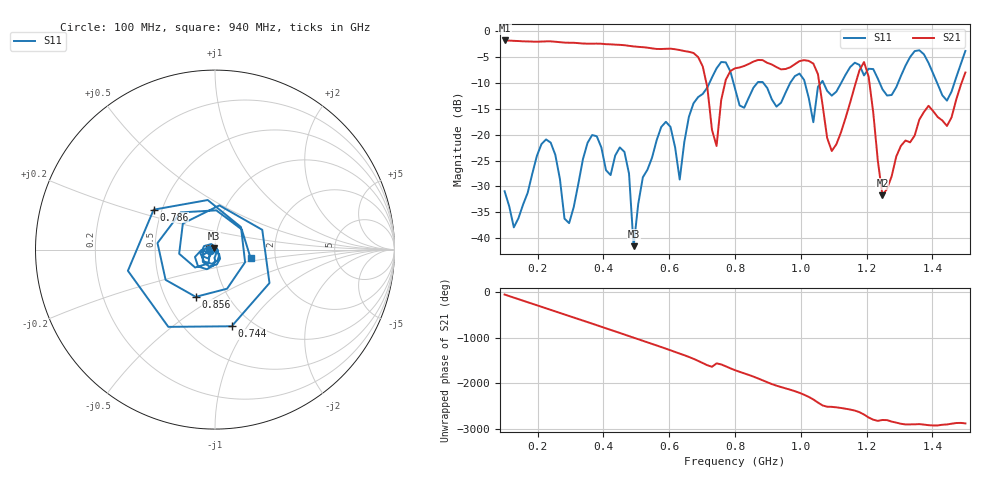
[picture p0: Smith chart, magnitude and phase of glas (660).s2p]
! NanoVNA-App
! Date: 2025-09-25 16:00:37
! Start: 100MHz Stop: 1,5GHz Points: 101
! S-Parameter data: F S11 S21 S12 S22
# Hz S RI R 50
!  Frequency  S11_Real  S11_Imag  S21_Real  S21_Imag  S12_Real  S12_Imag  S22_Real  S22_Imag
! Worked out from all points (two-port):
!   101 points, 100 MHz to 1.5 GHz, reference 50 ohm
!   highest |S21| = -1.80 dB at 100 MHz (marker M1); lowest = -31.7 dB at 1.248 GHz (marker M2)
!   |S21| within 3 dB of the highest: start of sweep to 684.2 MHz
!   lowest |S11| = -41.5 dB at 492 MHz (marker M3), VSWR 1.02, Z = 49.5 + j0.639 ohm
!   |S11| at or under -10 dB: start of sweep to 722.5 MHz; 795.4 MHz to 867.7 MHz (72.35 MHz wide, 8.7 % of centre); 886 MHz to 967.8 MHz (81.72 MHz wide, 8.82 % of centre) (the widest 3 of 7)
!   S12 and S22 are empty: the file has one direction only
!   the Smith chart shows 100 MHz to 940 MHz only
!   S11 on the Smith chart (normalised r, x): 100 MHz: 0.94, -0.01; 744 MHz: 0.80, -0.85; 786 MHz: 0.45, +0.24; 856 MHz: 0.71, -0.41; 940 MHz: 1.49, -0.14
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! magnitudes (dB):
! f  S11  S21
! 100 MHz  -30.9  -1.8
! 128 MHz  -37.9  -1.9
! 226 MHz  -20.9  -2.0
! 296 MHz  -37.1  -2.2
! 338 MHz  -24.7  -2.4
! 464 MHz  -23.3  -2.7
! 492 MHz  -41.5  -3.0
! 576 MHz  -18.5  -3.5
! 632 MHz  -28.7  -3.7
! 702 MHz  -12.1  -6.8
! 744 MHz  -7.2  -22.2
! 786 MHz  -7.8  -7.7
! 800 MHz  -11.1  -7.2
! 856 MHz  -10.9  -5.9
! 940 MHz  -13.8  -7.4
! 996 MHz  -8.2  -5.8
! 1.038 GHz  -17.6  -6.3
! 1.094 GHz  -12.5  -23.2
! 1.192 GHz  -8.6  -6.0
! 1.248 GHz  -11.2  -31.7
! 1.276 GHz  -12.3  -28.0
! 1.5 GHz  -3.8  -8.0
